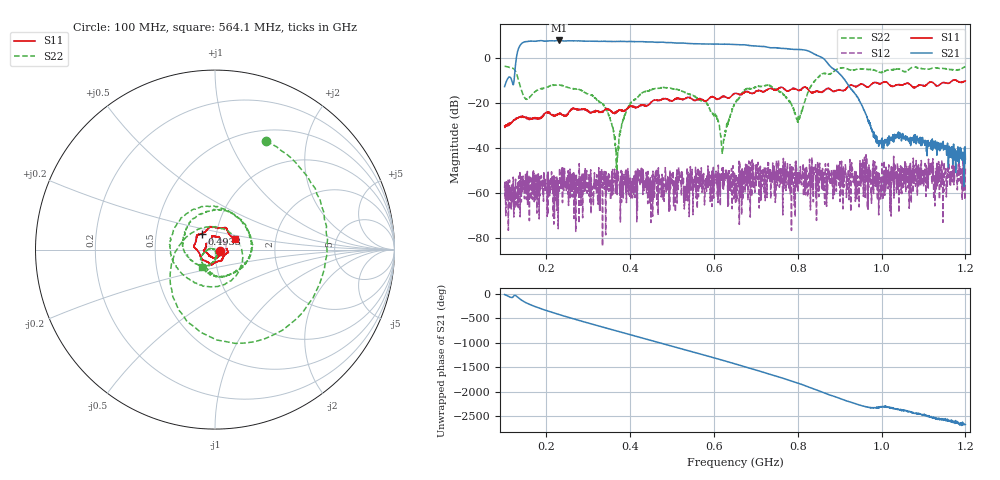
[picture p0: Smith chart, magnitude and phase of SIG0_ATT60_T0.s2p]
# Hz S DB R 50
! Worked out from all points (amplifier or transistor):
!   1601 points, 100 MHz to 1.2 GHz, reference 50 ohm
!   highest |S21| = 8.0 dB at 229.2 MHz (marker M1)
!   |S21| within 3 dB of that: 134.6 MHz to 727.3 MHz (592.8 MHz wide, 138 % of centre) (the widest 1 of 2)
!   unconditionally stable (mu >= 1): start of sweep to end of sweep
!   at 282.9 MHz: K = 83.36, MAG = 8.0 dB, |S12| = -52.6 dB
!   at 650 MHz: K = 320.42, MAG = 6.4 dB, |S12| = -62.7 dB
!   at 1.2 GHz: K = 11644.37, MAG = -41.9 dB, |S12| = -48.4 dB
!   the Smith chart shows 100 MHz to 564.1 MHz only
!   S11 on the Smith chart (normalised r, x): 100 MHz: 1.06, -0.02; 493.2 MHz: 0.85, +0.15; 564.1 MHz: 1.24, +0.15
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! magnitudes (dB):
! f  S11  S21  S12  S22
! 100 MHz  -30.0  -12.5  -57.7  -3.5
! 119.9 MHz  -27.9  -11.6  -59.0  -4.4
! 141.9 MHz  -25.8  6.9  -54.9  -15.1
! 229.2 MHz  -24.6  8.0  -58.4  -11.9
! 283.6 MHz  -22.8  7.8  -60.1  -14.2
! 339.2 MHz  -22.8  7.7  -50.5  -21.6
! 368.1 MHz  -23.5  7.6  -50.0  -50.5
! 400.4 MHz  -21.4  7.6  -55.8  -19.7
! 467.1 MHz  -18.8  7.3  -48.8  -13.3
! 493.2 MHz  -18.9  7.1  -58.5  -13.2
! 564.1 MHz  -18.0  6.5  -57.7  -18.2
! 606 MHz  -18.0  6.4  -51.3  -25.5
! 620.4 MHz  -16.9  6.4  -51.3  -40.8
! 650 MHz  -15.6  6.2  -62.7  -19.8
! 731.1 MHz  -13.5  4.9  -50.8  -11.8
! 801.2 MHz  -14.3  4.0  -51.1  -25.9
! 833.6 MHz  -15.4  2.6  -44.2  -11.6
! 938.1 MHz  -12.4  -16.1  -52.9  -4.9
! 953.9 MHz  -11.4  -21.3  -50.7  -4.6
! 989.6 MHz  -11.0  -36.6  -61.0  -5.8
! 1.017 GHz  -11.5  -35.8  -47.5  -5.0
! 1.2 GHz  -10.0  -44.9  -48.4  -3.6
